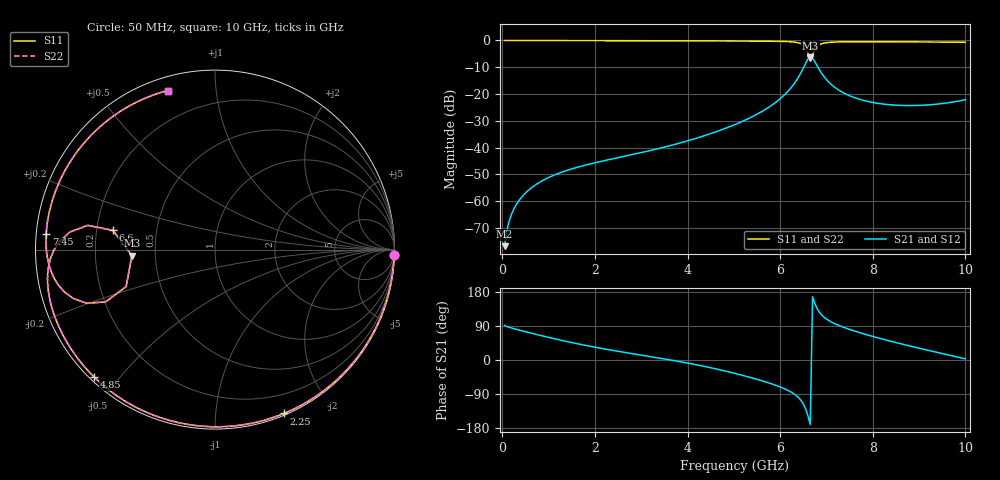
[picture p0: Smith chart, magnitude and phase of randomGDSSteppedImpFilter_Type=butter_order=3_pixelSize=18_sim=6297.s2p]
! freq	dB(S11)	phase(S11)	dB(S12)	phase(S12)
!  dB(S21)	phase(S21)	dB(S22)	phase(S22)
!S-par simulation data
#  GHz  S  DB  R 50
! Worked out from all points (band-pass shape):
!   200 points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, 50 MHz to 10 GHz, reference 50 ohm
!   highest |S21| = -6.16 dB at 6.65 GHz (marker M1); lowest = -76.8 dB at 50 MHz (marker M2)
!   |S21| within 3 dB of the highest: 6.532 GHz to 6.788 GHz (256.2 MHz wide, 3.85 % of centre)
!   lowest |S11| = -6.7 dB at 6.65 GHz (marker M3), VSWR 2.73, Z = 18.3 - j1.55 ohm
!   |S11| at or under -10 dB: nowhere
!   |S22| runs from -6.7 to 0.0 dB; largest |S21 - S12| = 0
!   S11 on the Smith chart (normalised r, x): 50 MHz: 2, -71; 2.25 GHz: 0.02, -1.50; 4.85 GHz: 0.01, -0.43; 6.6 GHz: 0.27, +0.09; 7.45 GHz: 0.03, +0.05; 10 GHz: 0.06, +0.74
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0.05  -0.01 -1.6  -76.81 91.2  -76.81 91.2  -0.01 -1.6
0.1  -0.01 -3.2  -70.84 88.2  -70.84 88.2  -0.01 -3.2
0.2  -0.02 -6.3  -64.84 84.4  -64.84 84.4  -0.02 -6.3
0.5  -0.02 -15.5  -56.97 74.6  -56.97 74.6  -0.02 -15.5
1  -0.04 -30.8  -51.18 59.6  -51.18 59.6  -0.04 -30.8
1.75  -0.07 -53.0  -46.74 39.7  -46.74 39.7  -0.07 -53.0
2.25  -0.08 -67.2  -44.70 28.2  -44.70 28.2  -0.08 -67.2
3.4  -0.12 -97.9  -40.26 4.9  -40.26 4.9  -0.12 -97.9
4.85  -0.19 -133.6  -32.60 -30.1  -32.60 -30.1  -0.19 -133.6
5.05  -0.20 -138.5  -31.22 -36.1  -31.22 -36.1  -0.20 -138.4
5.8  -0.29 -157.3  -24.42 -62.4  -24.42 -62.4  -0.29 -157.3
6.3  -0.61 -174.2  -16.22 -89.6  -16.22 -89.6  -0.61 -174.1
6.5  -1.79 173.0  -10.30 -116.1  -10.30 -116.1  -1.79 173.1
6.6  -4.76 169.3  -6.93 -147.1  -6.93 -147.1  -4.75 169.4
6.65  -6.67 -175.9  -6.16 -170.0  -6.16 -170.0  -6.65 -175.9
6.7  -5.41 -157.4  -6.62 166.9  -6.62 166.9  -5.40 -157.4
6.8  -2.21 -157.3  -9.53 135.1  -9.53 135.1  -2.21 -157.4
6.95  -0.98 -167.1  -13.58 112.7  -13.58 112.7  -0.98 -167.1
7.45  -0.50 174.8  -20.28 82.7  -20.28 82.7  -0.50 174.8
8.35  -0.50 151.1  -23.98 50.6  -23.98 50.6  -0.50 151.2
9.15  -0.57 130.2  -24.12 26.7  -24.12 26.7  -0.57 130.2
10  -0.68 106.5  -22.13 3.0  -22.13 3.0  -0.68 106.5
